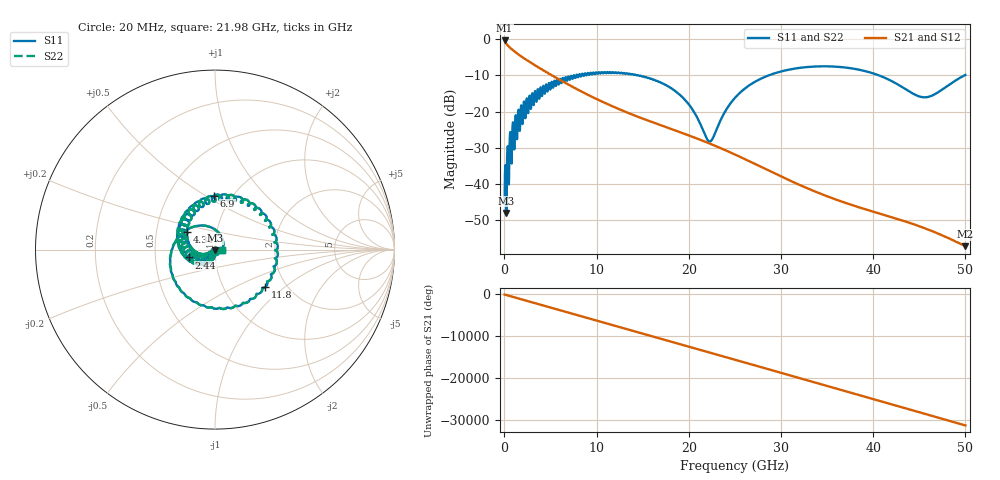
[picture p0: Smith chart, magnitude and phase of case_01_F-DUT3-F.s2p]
# HZ S RI R 50
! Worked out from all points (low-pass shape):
!   2500 points, 20 MHz to 50 GHz, reference 50 ohm
!   highest |S21| = -0.36 dB at 20 MHz (marker M1); lowest = -57.1 dB at 50 GHz (marker M2)
!   |S21| within 3 dB of the highest: start of sweep to 1.078 GHz
!   lowest |S11| = -48.0 dB at 220 MHz (marker M3), VSWR 1.01, Z = 49.8 - j0.366 ohm
!   |S11| at or under -10 dB: start of sweep to 7.517 GHz; 14.54 GHz to 28.66 GHz (14.12 GHz wide, 65.4 % of centre); 40.63 GHz to 49.9 GHz (9.273 GHz wide, 20.5 % of centre)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
!   |S22| runs from -48.0 to -7.5 dB; largest |S21 - S12| = 0
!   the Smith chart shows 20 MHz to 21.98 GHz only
!   S11 on the Smith chart (normalised r, x): 20 MHz: 1.00, -0.01; 2.44 GHz: 0.74, -0.07; 4.34 GHz: 0.72, +0.15; 6.9 GHz: 0.83, +0.55; 11.8 GHz: 1.56, -0.74; 21.98 GHz: 1.09, -0.00
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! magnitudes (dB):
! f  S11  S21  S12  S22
! 20 MHz  -45.4  -0.4  -0.4  -45.4
! 220 MHz  -48.0  -1.3  -1.3  -48.0
! 500 MHz  -38.1  -2.1  -2.1  -38.1
! 1.08 GHz  -30.3  -3.4  -3.4  -30.3
! 1.96 GHz  -23.4  -5.0  -5.0  -23.4
! 2.44 GHz  -16.4  -5.8  -5.8  -16.4
! 4.34 GHz  -14.7  -8.7  -8.7  -14.7
! 6.9 GHz  -10.4  -12.5  -12.5  -10.4
! 8.36 GHz  -10.0  -14.4  -14.4  -10.0
! 11.8 GHz  -9.1  -18.6  -18.6  -9.1
! 16.68 GHz  -11.7  -23.5  -23.5  -11.7
! 19.76 GHz  -17.3  -26.3  -26.3  -17.3
! 21.98 GHz  -27.6  -28.5  -28.5  -27.6
! 22.52 GHz  -27.7  -29.1  -29.1  -27.7
! 23.86 GHz  -20.3  -30.5  -30.5  -20.3
! 25.02 GHz  -16.1  -31.8  -31.8  -16.1
! 28.42 GHz  -10.2  -35.9  -35.9  -10.2
! 33.34 GHz  -7.6  -41.7  -41.7  -7.6
! 37.88 GHz  -8.1  -45.9  -45.9  -8.1
! 41.68 GHz  -11.2  -48.9  -48.9  -11.2
! 45.68 GHz  -16.0  -52.2  -52.2  -16.0
! 50 GHz  -9.9  -57.1  -57.1  -9.9
